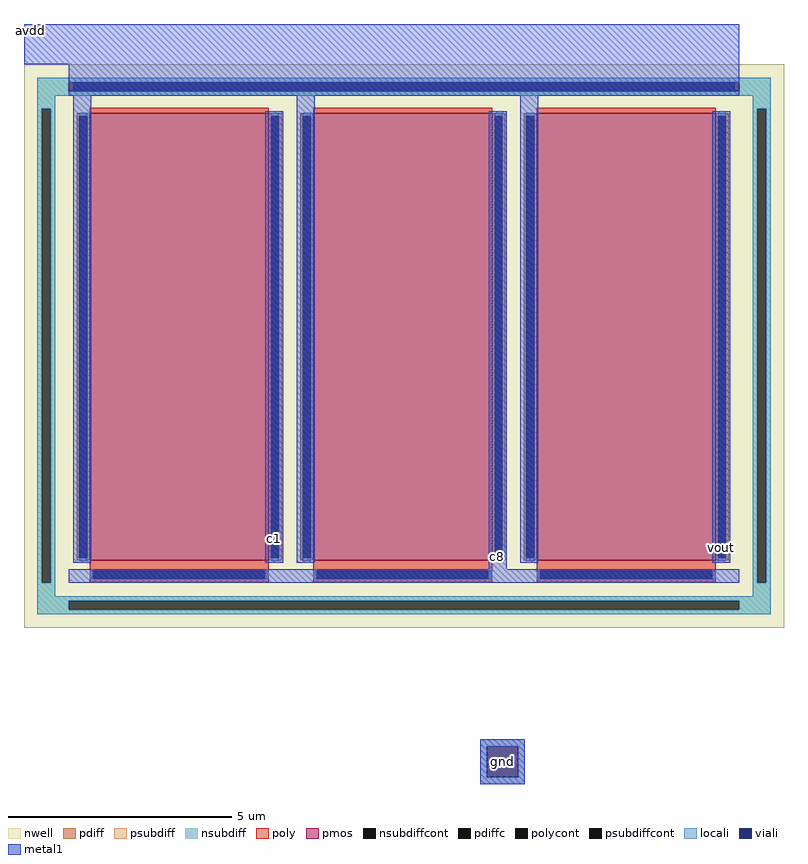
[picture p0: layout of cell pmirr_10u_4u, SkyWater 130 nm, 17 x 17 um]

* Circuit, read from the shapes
.subckt pmirr_10u_4u vout c1 c8 gnd avdd
XM1 c1 c8 avdd avdd sky130_fd_pr__pfet_01v8 w=10 l=4
XM2 c8 c8 avdd avdd sky130_fd_pr__pfet_01v8 w=10 l=4
XM3 vout c8 avdd avdd sky130_fd_pr__pfet_01v8 w=10 l=4
.ends

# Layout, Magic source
magic
tech sky130A
<< nwell >>
rect -100 -100 1600 1160
<< psubdiff >>
rect 920 -365 1020 -350
rect 920 -435 935 -365
rect 1005 -435 1020 -365
rect 920 -450 1020 -435
<< nsubdiff >>
rect -70 1120 1570 1130
rect -70 1100 0 1120
rect 1500 1100 1570 1120
rect -70 1090 1570 1100
rect -70 1060 -30 1090
rect -70 0 -60 1060
rect -40 0 -30 1060
rect -70 -30 -30 0
rect 1530 1060 1570 1090
rect 1530 0 1540 1060
rect 1560 0 1570 1060
rect 1530 -30 1570 0
rect -70 -40 1570 -30
rect -70 -60 0 -40
rect 1500 -60 1570 -40
rect -70 -70 1570 -60
<< psubdiffcont >>
rect 935 -435 1005 -365
<< nsubdiffcont >>
rect 0 1100 1500 1120
rect -60 0 -40 1060
rect 1540 0 1560 1060
rect 0 -60 1500 -40
<< locali >>
rect -70 1120 1570 1130
rect -70 1100 0 1120
rect 1500 1100 1570 1120
rect -70 1090 1570 1100
rect -70 1060 -30 1090
rect -70 0 -60 1060
rect -40 0 -30 1060
rect -70 -30 -30 0
rect 1530 1060 1570 1090
rect 1530 0 1540 1060
rect 1560 0 1570 1060
rect 1530 -30 1570 0
rect -70 -40 1570 -30
rect -70 -60 0 -40
rect 1500 -60 1570 -40
rect -70 -70 1570 -60
rect 920 -365 1020 -350
rect 920 -435 935 -365
rect 1005 -435 1020 -365
rect 920 -450 1020 -435
<< viali >>
rect 10 1100 1490 1120
<< metal1 >>
rect -100 1160 0 1250
rect 0 1100 10 1120
rect 1490 1100 1500 1110
rect 0 1090 1500 1100
rect 440 50 480 150
rect 940 10 980 110
rect 1440 50 1480 110
rect 920 -450 1020 -350
use pmirr_unit_10u_4u  pmirr_unit_10u_4u_0
transform 1 0 1600 0 1 -450
box -1600 450 -1100 1700
use pmirr_unit_10u_4u  pmirr_unit_10u_4u_1
transform 1 0 2100 0 1 -450
box -1600 450 -1100 1700
use pmirr_unit_10u_4u  pmirr_unit_10u_4u_2
transform 1 0 2600 0 1 -450
box -1600 450 -1100 1700
<< labels >>
flabel metal1 1440 50 1480 110 0 FreeSans 128 0 0 0 vout
port 1 nsew
flabel metal1 940 10 980 110 0 FreeSans 128 0 0 0 c8
port 3 nsew
flabel metal1 440 50 480 150 0 FreeSans 128 0 0 0 c1
port 2 nsew
flabel metal1 920 -450 1020 -350 0 FreeSans 80 0 0 0 gnd
port 4 nsew
rlabel metal1 -90 1230 -80 1240 7 avdd
port 5 w
<< end >>

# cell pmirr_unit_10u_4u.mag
magic
tech sky130A
<< nwell >>
rect -1110 450 -1100 1530
<< metal1 >>
rect -1600 1550 -1100 1700
rect -1590 495 -1550 1550
rect -1160 495 -1120 1505
rect -1600 450 -1100 480
use sky130_fd_pr__pfet_01v8_QRZKJX  sky130_fd_pr__pfet_01v8_QRZKJX_1
transform 1 0 -1353 0 -1 982
box -247 -549 247 532
<< labels >>
flabel metal1 -1600 465 -1600 465 0 FreeSans 80 0 0 0 gmirr
port 3 nsew
flabel metal1 -1120 500 -1120 500 0 FreeSans 80 0 0 0 imirr
port 5 nsew
rlabel metal1 -1590 1680 -1580 1690 7 avdd
port 6 w
<< end >>

# cell sky130_fd_pr__pfet_01v8_QRZKJX: kit device sky130_fd_pr__pfet_01v8, w 10 l 4 m 1 nf 1 diffcov 100 polycov 100 guard 0 glc 0 grc 0 gtc 0 gbc 0 tbcov 100 rlcov 100 topc 1 botc 0 poverlap 0 doverlap 1 lmin 0.15 wmin 0.42 compatible {sky130_fd_pr__pfet_01v8 sky130_fd_pr__pfet_01v8_lvt sky130_fd_pr__pfet_01v8_hvt sky130_fd_pr__pfet_g5v0d10v5} full_metal 0 viasrc 100 viadrn 100 viagate 100 viagb 0 viagr 0 viagl 0 viagt 0
